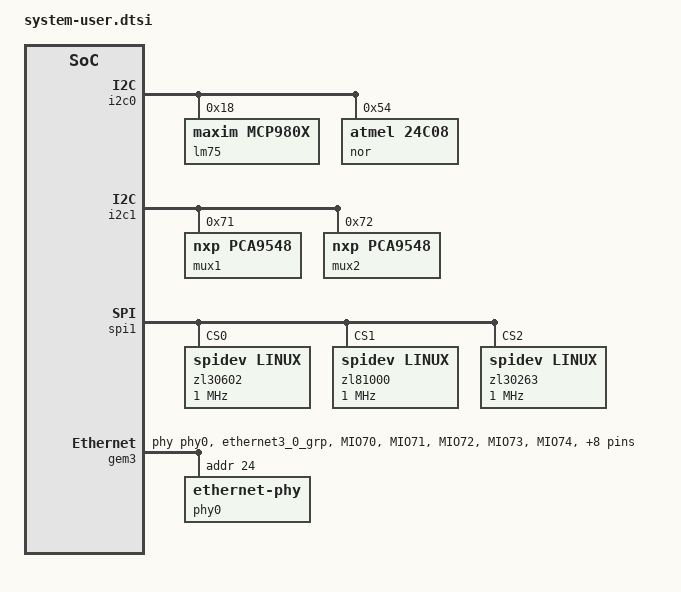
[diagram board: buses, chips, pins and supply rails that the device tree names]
/*barak*/
//#include "include/dt-bindings/gpio/gpio.h"
//#include "include/dt-bindings/pinctrl/pinctrl-zynqmp.h"
//#include "include/dt-bindings/phy/phy.h"
#include "gpio.h"
#include "pinctrl-zynqmp.h"
#include "phy.h"

/ {
	aliases {
		gpio0 = &gpio;
		mmc0 = &sdhci1;
		//mmc0 = &sdhci0; /* guy - fix the dtb for u-boot ! */
                ethernet0 = &gem3;
                i2c0 = &i2c0;
                i2c1 = &i2c1;
                serial0 = &uart0;
                serial1 = &uart1;
                spi1 = &spi0;
		//rtc0 = &rtc;
		usb0 = &usb0;
	};

};

&i2c0 {
    status = "okay";
    //gpios = <&gpio1 28 2   /* SCL - open drain, active low */
    // &gpio1 31 2>; /* SDA - driven, active high */

    lm75: mcp9808@18 {
        compatible = "maxim,mcp980x";
        reg = <0x18>;
        name = "mcp9808";
    };

    nor: at24c08@54 {
         compatible = "atmel,24c08";
         reg = <0x54>; /* 54-57 */
         name = "at24c08";
     };
};

&i2c1 {
    status = "okay";
/*
    pinctrl-names = "default", "gpio";
    pinctrl-0 = <&pinctrl_i2c1_default>;
    pinctrl-1 = <&pinctrl_i2c1_gpio>;
    scl-gpios = <&gpio 48 GPIO_ACTIVE_HIGH>;
    sda-gpios = <&gpio 49 GPIO_ACTIVE_HIGH>;
*/
    mux1@71 {
        compatible = "nxp,pca9548";
        reg = <0x71>;
        #address-cells = <1>;
        #size-cells = <0>;
        i2c-mux-idle-disconnect;

        channel0@0 {
            #address-cells = <1>;
            #size-cells = <0>;
            reg = <0x0>;
        };
        channel1@1 {
            #address-cells = <1>;
            #size-cells = <0>;
            reg = <0x1>;
        };
        channel2@2 {
            #address-cells = <1>;
            #size-cells = <0>;
            reg = <0x2>;
        };
        channel3@3 {
            #address-cells = <1>;
            #size-cells = <0>;
            reg = <0x3>;
        };
        channel4@4 {
            #address-cells = <1>;
            #size-cells = <0>;
            reg = <0x4>;
        };
        channel5@5 {
            #address-cells = <1>;
            #size-cells = <0>;
            reg = <0x5>;
        };
        channel6@6 {
            #address-cells = <1>;
            #size-cells = <0>;
            reg = <0x6>;
        };
        channel7@7 {
            #address-cells = <1>;
            #size-cells = <0>;
            reg = <0x7>;
        };
    };

    mux2@72 {
        compatible = "nxp,pca9548";
        reg = <0x72>;
        #address-cells = <1>;
        #size-cells = <0>;
        i2c-mux-idle-disconnect;

        channel0@0 {
            #address-cells = <1>;
            #size-cells = <0>;
            reg = <0x0>;
        };
        channel1@1 {
            #address-cells = <1>;
            #size-cells = <0>;
            reg = <0x1>;
        };
        channel2@2 {
            #address-cells = <1>;
            #size-cells = <0>;
            reg = <0x2>;
        };
        channel3@3 {
            #address-cells = <1>;
            #size-cells = <0>;
            reg = <0x3>;
        };
        channel4@4 {
            #address-cells = <1>;
            #size-cells = <0>;
            reg = <0x4>;
        };
        channel5@5 {
            #address-cells = <1>;
            #size-cells = <0>;
            reg = <0x5>;
        };
        channel6@6 {
            #address-cells = <1>;
            #size-cells = <0>;
            reg = <0x6>;
        };
        channel7@7 {
            #address-cells = <1>;
            #size-cells = <0>;
            reg = <0x7>;
        };
    };

};

&spi1 {
    status = "okay";
    spi-num-chipselects = <0x3>;
    bus-num = <0>;

    zl30602: cs0@0 {
        compatible = "spidev,linux";
        spi-max-frequency = <1000000>;
        fsl,spi-cs-sck-delay = <50>;
        fsl,spi-sck-cs-delay = <50>;
        mode = <0>;
        reg = <0>;
    };

    zl81000: cs1@0 {
        compatible = "spidev,linux";
        spi-max-frequency = <1000000>;
        fsl,spi-cs-sck-delay = <50>;
        fsl,spi-sck-cs-delay = <50>;
        mode = <0>;
        reg = <1>;
    };

    zl30263: cs2@0 {
        compatible = "spidev,linux";
        spi-max-frequency = <1000000>;
        fsl,spi-cs-sck-delay = <105>;
        fsl,spi-sck-cs-delay = <110>;
        mode = <0>;
        reg = <2>;
    };

};

&pinctrl0 {
	status = "okay";
	pinctrl_gem3_default: gem3-default {
		mux {
			function = "ethernet3";
			groups = "ethernet3_0_grp";
		};

		conf {
			groups = "ethernet3_0_grp";
			slew-rate = <1>;
			io-standard = <1>;
		};

		conf-rx {
			pins = "MIO70", "MIO71", "MIO72", "MIO73", "MIO74",
									"MIO75";
			bias-high-impedance;
			low-power-disable;
		};

		conf-tx {
			pins = "MIO64", "MIO65", "MIO66", "MIO67", "MIO68",
									"MIO69";
			bias-disable;
			low-power-enable;
		};

		mux-mdio {
			function = "mdio3";
			groups = "mdio3_0_grp";
		};

		conf-mdio {
			groups = "mdio3_0_grp";
			slew-rate = <1>;
			io-standard = <1>;
			bias-disable;
		};
	};

};

&gem3 {
 status = "okay";
 phy-handle = <&phy0>;
 //phy-mode = "rgmii";
 //pinctrl-names = "default";
 pinctrl-0 = <&pinctrl_gem3_default>;
 phy0: ethernet-phy@18 {
  reg = <0x18>;
 };
};




